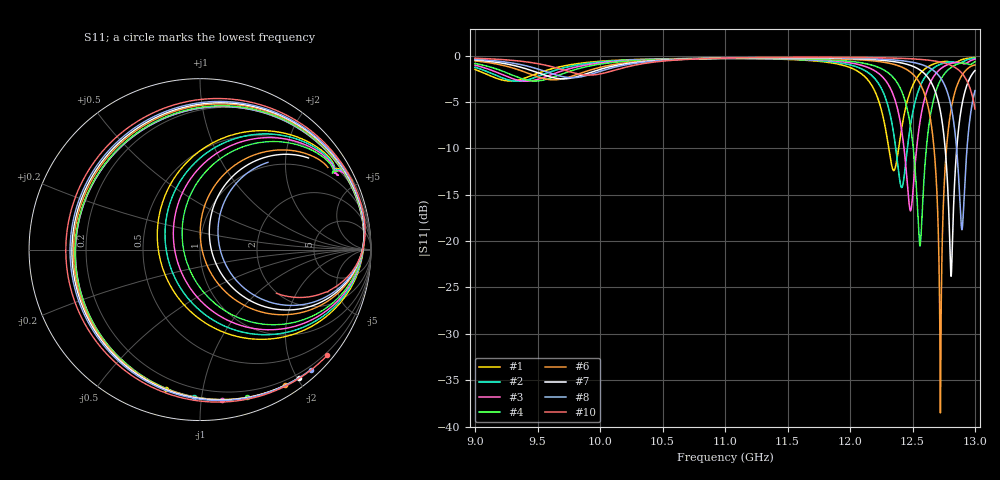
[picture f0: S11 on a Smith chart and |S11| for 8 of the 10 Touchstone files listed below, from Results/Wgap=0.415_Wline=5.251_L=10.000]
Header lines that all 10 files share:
! TOUCHSTONE file generated by CST DESIGN STUDIO
! Project name: C:\Work\MatlabApps\UnitCellOptimizationMatlab\CST\unitcell.cst
! Tree item: Tasks\Sweep1\SPara1\S-Parameters
! Header version: 2024
! Port assignment regex: !\s*Touchstone port\s*([0-9]+)\s*=\s*(CST MWS port|CST DES external port|CST DES block port)\s*(.+)\s* \(\"(.*)\"\)(\s*mode\s*([0-9]+))?.*
! Touchstone port assignment:
! Touchstone port 1 = CST DES external port 1 ("")
# GHz S MA R 50
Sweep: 9 GHz to 13 GHz
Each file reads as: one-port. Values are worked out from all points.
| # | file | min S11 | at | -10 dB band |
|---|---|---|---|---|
| 1 | DS_for_MWS-run-0001.s1p | -12.4 dB | 12.35 GHz | 78.73 MHz wide |
| 2 | DS_for_MWS-run-0002.s1p | -14.2 dB | 12.41 GHz | 92.67 MHz wide |
| 3 | DS_for_MWS-run-0003.s1p | -16.7 dB | 12.48 GHz | 100.9 MHz wide |
| 4 | DS_for_MWS-run-0004.s1p | -20.5 dB | 12.56 GHz | 104.4 MHz wide |
| 5 | DS_for_MWS-run-0005.s1p | -27.7 dB | 12.64 GHz | 103.9 MHz wide |
| 6 | DS_for_MWS-run-0006.s1p | -38.5 dB | 12.72 GHz | 99.74 MHz wide |
| 7 | DS_for_MWS-run-0007.s1p | -23.8 dB | 12.81 GHz | 92.82 MHz wide |
| 8 | DS_for_MWS-run-0008.s1p | -18.8 dB | 12.89 GHz | 83.46 MHz wide |
| 9 | DS_for_MWS-run-0009.s1p | -15.8 dB | 12.98 GHz | over 54.63 MHz wide |
| 10 | DS_for_MWS-run-0010.s1p | -5.8 dB | 13 GHz | - |
